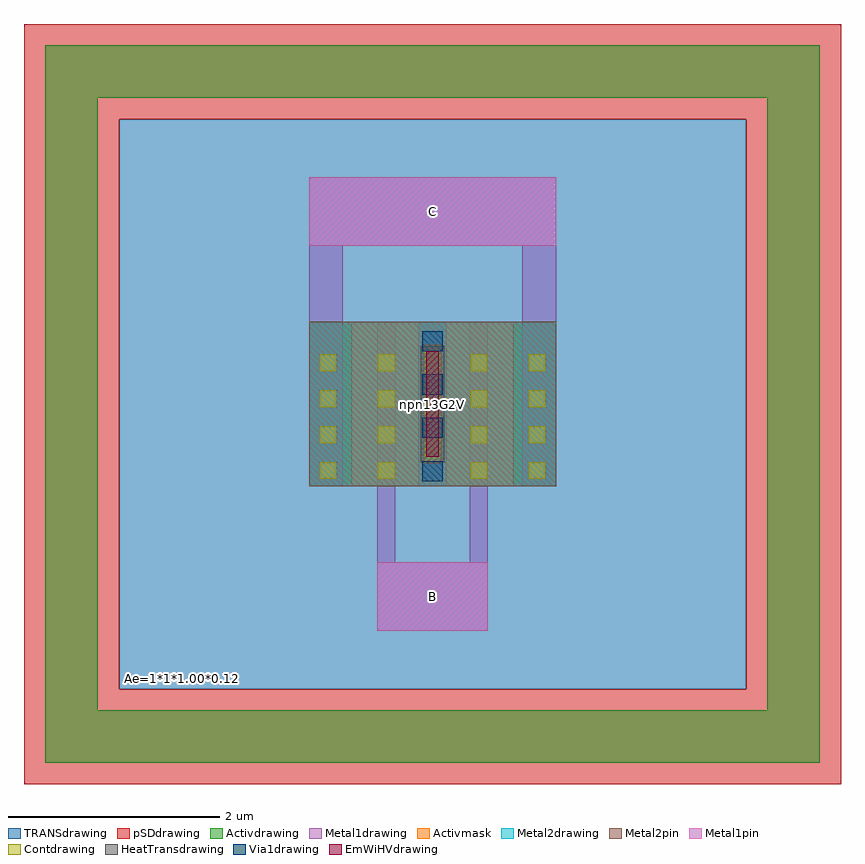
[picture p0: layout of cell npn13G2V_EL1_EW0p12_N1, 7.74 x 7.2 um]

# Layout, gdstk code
import gdstk
lib = gdstk.Library(unit=1e-6, precision=1e-09)
def R(c, l, rs):  # rectangles x0, y0, x1, y1
    for r in rs: c.add(gdstk.rectangle(r[:2], r[2:], *l))
def P(c, l, *ps):  # polygons
    for p in ps: c.add(gdstk.Polygon(p, *l))
Activdrawing = (1, 0)
Activmask = (1, 20)
Contdrawing = (6, 0)
Metal1drawing = (8, 0)
Metal1pin = (8, 2)
Metal2drawing = (10, 0)
Metal2pin = (10, 2)
pSDdrawing = (14, 0)
Via1drawing = (19, 0)
TRANSdrawing = (26, 0)
HeatTransdrawing = (51, 0)
EmWiHVdrawing = (156, 0)

rectangle_gdsfactorypcom = lib.new_cell('rectangle_gdsfactorypcomponentspshapesprectangle_S0p12__214563ad')
R(rectangle_gdsfactorypcom, EmWiHVdrawing, [(0,0,0.12,1)])

c_rectangle_gdsfactorypcom = lib.new_cell('rectangle_gdsfactorypcomponentspshapesprectangle_S0p22__a1fad430')
R(c_rectangle_gdsfactorypcom, HeatTransdrawing, [(0,0,0.22,1.1)])

c_rectangle_gdsfactorypcom_ = lib.new_cell('rectangle_gdsfactorypcomponentspshapesprectangle_S0p19__c3060a3f')
R(c_rectangle_gdsfactorypcom_, Via1drawing, [(0,0,0.19,0.19)])

c_rectangle_gdsfactorypcom__ = lib.new_cell('rectangle_gdsfactorypcomponentspshapesprectangle_S0p635_13724cc7')
R(c_rectangle_gdsfactorypcom__, Activmask, [(0,0,0.636,1.56)])

unnamed_109 = lib.new_cell('Unnamed_109')
R(unnamed_109, Activmask, [(3.105,2.82,3.741,4.38), (4,2.82,4.636,4.38)])

unnamed_110 = lib.new_cell('Unnamed_110')
R(unnamed_110, Activdrawing, [(2.7,2.82,3.105,4.38), (3.741,2.82,4,4.38), (4.636,2.82,5.04,4.38)])

c_rectangle_gdsfactorypcom___ = lib.new_cell('rectangle_gdsfactorypcomponentspshapesprectangle_S0p16__e67169cd')
R(c_rectangle_gdsfactorypcom___, Contdrawing, [(0,0,0.16,1.12)])

c_rectangle_gdsfactorypcom____ = lib.new_cell('rectangle_gdsfactorypcomponentspshapesprectangle_S0p16__bf15bdcd')
R(c_rectangle_gdsfactorypcom____, Contdrawing, [(0,0,0.16,0.16)])

c_rectangle_gdsfactorypcom_____ = lib.new_cell('rectangle_gdsfactorypcomponentspshapesprectangle_S0p32__9b8446c7')
R(c_rectangle_gdsfactorypcom_____, Metal1drawing, [(0,0,0.32,2.28)])

c_rectangle_gdsfactorypcom______ = lib.new_cell('rectangle_gdsfactorypcomponentspshapesprectangle_S2p340_1c3a4f5f')
R(c_rectangle_gdsfactorypcom______, Metal1drawing, [(0,0,2.34,0.65)])

c_rectangle_gdsfactorypcom_______ = lib.new_cell('rectangle_gdsfactorypcomponentspshapesprectangle_S2p340_7eee1d4b')
R(c_rectangle_gdsfactorypcom_______, Metal1pin, [(0,0,2.34,0.65)])

c_rectangle_gdsfactorypcom________ = lib.new_cell('rectangle_gdsfactorypcomponentspshapesprectangle_S0p17__905a320c')
R(c_rectangle_gdsfactorypcom________, Metal1drawing, [(0,0,0.17,2.28)])

c_rectangle_gdsfactorypcom_________ = lib.new_cell('rectangle_gdsfactorypcomponentspshapesprectangle_S1p05__82a64c81')
R(c_rectangle_gdsfactorypcom_________, Metal1drawing, [(0,0,1.05,0.65)])

c_rectangle_gdsfactorypcom__________ = lib.new_cell('rectangle_gdsfactorypcomponentspshapesprectangle_S1p05__c8bcb15d')
R(c_rectangle_gdsfactorypcom__________, Metal1pin, [(0,0,1.05,0.65)])

c_rectangle_gdsfactorypcom___________ = lib.new_cell('rectangle_gdsfactorypcomponentspshapesprectangle_S0p26__6304a303')
R(c_rectangle_gdsfactorypcom___________, Metal1drawing, [(0,0,0.26,1.56)])

c_rectangle_gdsfactorypcom____________ = lib.new_cell('rectangle_gdsfactorypcomponentspshapesprectangle_S2p340_18dfb6fa')
R(c_rectangle_gdsfactorypcom____________, Metal2drawing, [(0,0,2.34,1.56)])

c_rectangle_gdsfactorypcom_____________ = lib.new_cell('rectangle_gdsfactorypcomponentspshapesprectangle_S2p340_799c2e48')
R(c_rectangle_gdsfactorypcom_____________, Metal2pin, [(0,0,2.34,1.56)])

c_rectangle_gdsfactorypcom______________ = lib.new_cell('rectangle_gdsfactorypcomponentspshapesprectangle_S5p94__38bc2899')
R(c_rectangle_gdsfactorypcom______________, TRANSdrawing, [(0,0,5.94,5.4)])

unnamed_140 = lib.new_cell('Unnamed_140')
P(unnamed_140, pSDdrawing, [(0,0),(0,6.3),(0.9,6.3),(0.9,0.9),(6.84,0.9),(6.84,6.3),(0,6.3),(0,7.2),(7.74,7.2),(7.74,0)])

unnamed_145 = lib.new_cell('Unnamed_145')
P(unnamed_145, Activdrawing, [(0.2,0.2),(0.2,6.5),(0.7,6.5),(0.7,0.7),(7.04,0.7),(7.04,6.5),(0.2,6.5),(0.2,7),(7.54,7),(7.54,0.2)])

npn13g2v_el1_ew0p12_n1 = lib.new_cell('npn13G2V_EL1_EW0p12_N1')
npn13g2v_el1_ew0p12_n1.add(gdstk.Reference(rectangle_gdsfactorypcom, (3.81,3.1)))
npn13g2v_el1_ew0p12_n1.add(gdstk.Reference(c_rectangle_gdsfactorypcom, (3.76,3.05)))
r = gdstk.Reference(c_rectangle_gdsfactorypcom_, (3.775,2.87)); r.repetition = gdstk.Repetition(1, 4, v1=(0,0), v2=(0,0.41)); npn13g2v_el1_ew0p12_n1.add(r)
npn13g2v_el1_ew0p12_n1.add(gdstk.Reference(c_rectangle_gdsfactorypcom__, (3.105,2.82)))
npn13g2v_el1_ew0p12_n1.add(gdstk.Reference(c_rectangle_gdsfactorypcom__, (4,2.82)))
npn13g2v_el1_ew0p12_n1.add(gdstk.Reference(unnamed_109, (0,0)))
npn13g2v_el1_ew0p12_n1.add(gdstk.Reference(unnamed_110, (0,0)))
npn13g2v_el1_ew0p12_n1.add(gdstk.Reference(c_rectangle_gdsfactorypcom___, (3.79,3.04)))
r = gdstk.Reference(c_rectangle_gdsfactorypcom____, (2.8,2.89)); r.repetition = gdstk.Repetition(1, 4, v1=(0,0), v2=(0,0.34)); npn13g2v_el1_ew0p12_n1.add(r)
r = gdstk.Reference(c_rectangle_gdsfactorypcom____, (3.35,2.89)); r.repetition = gdstk.Repetition(1, 4, v1=(0,0), v2=(0,0.34)); npn13g2v_el1_ew0p12_n1.add(r)
r = gdstk.Reference(c_rectangle_gdsfactorypcom____, (4.23,2.89)); r.repetition = gdstk.Repetition(1, 4, v1=(0,0), v2=(0,0.34)); npn13g2v_el1_ew0p12_n1.add(r)
r = gdstk.Reference(c_rectangle_gdsfactorypcom____, (4.78,2.89)); r.repetition = gdstk.Repetition(1, 4, v1=(0,0), v2=(0,0.34)); npn13g2v_el1_ew0p12_n1.add(r)
npn13g2v_el1_ew0p12_n1.add(gdstk.Reference(c_rectangle_gdsfactorypcom_____, (2.7,2.82)))
npn13g2v_el1_ew0p12_n1.add(gdstk.Reference(c_rectangle_gdsfactorypcom_____, (4.72,2.82)))
npn13g2v_el1_ew0p12_n1.add(gdstk.Reference(c_rectangle_gdsfactorypcom______, (2.7,5.1)))
npn13g2v_el1_ew0p12_n1.add(gdstk.Reference(c_rectangle_gdsfactorypcom_______, (2.7,5.1)))
npn13g2v_el1_ew0p12_n1.add(gdstk.Reference(c_rectangle_gdsfactorypcom________, (3.345,2.1)))
npn13g2v_el1_ew0p12_n1.add(gdstk.Reference(c_rectangle_gdsfactorypcom________, (4.225,2.1)))
npn13g2v_el1_ew0p12_n1.add(gdstk.Reference(c_rectangle_gdsfactorypcom_________, (3.345,1.45)))
npn13g2v_el1_ew0p12_n1.add(gdstk.Reference(c_rectangle_gdsfactorypcom__________, (3.345,1.45)))
npn13g2v_el1_ew0p12_n1.add(gdstk.Reference(c_rectangle_gdsfactorypcom___________, (3.74,2.82)))
npn13g2v_el1_ew0p12_n1.add(gdstk.Reference(c_rectangle_gdsfactorypcom____________, (2.7,2.82)))
npn13g2v_el1_ew0p12_n1.add(gdstk.Reference(c_rectangle_gdsfactorypcom_____________, (2.7,2.82)))
npn13g2v_el1_ew0p12_n1.add(gdstk.Reference(c_rectangle_gdsfactorypcom______________, (0.9,0.9)))
npn13g2v_el1_ew0p12_n1.add(gdstk.Reference(unnamed_140, (0,0)))
npn13g2v_el1_ew0p12_n1.add(gdstk.Reference(unnamed_145, (0,0)))
npn13g2v_el1_ew0p12_n1.add(gdstk.Label('npn13G2V', (3.87,3.6), layer=51, texttype=0))
npn13g2v_el1_ew0p12_n1.add(gdstk.Label('Ae=1*1*1.00*0.12', (1.5,1), layer=63, texttype=0))
npn13g2v_el1_ew0p12_n1.add(gdstk.Label('npn13G2L', (1.75,1), layer=63, texttype=0))
npn13g2v_el1_ew0p12_n1.add(gdstk.Label('C', (3.87,5.425), layer=63, texttype=0))
npn13g2v_el1_ew0p12_n1.add(gdstk.Label('B', (3.87,1.775), layer=63, texttype=0))
npn13g2v_el1_ew0p12_n1.add(gdstk.Label('E', (3.87,3.6), layer=63, texttype=0))

lib.write_gds('npn13G2V_EL1_EW0p12_N1.gds')
